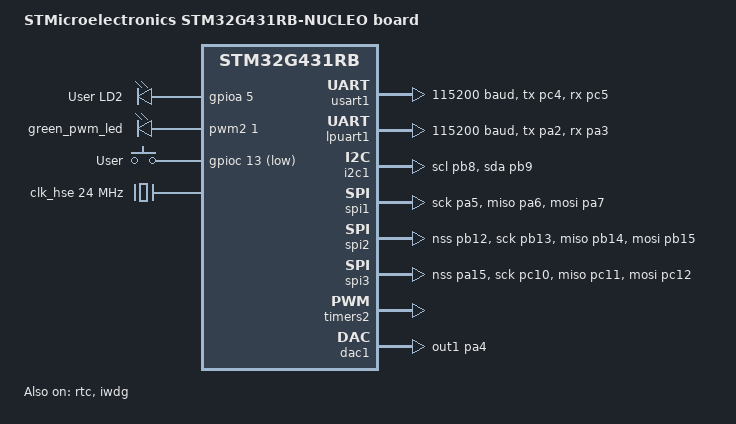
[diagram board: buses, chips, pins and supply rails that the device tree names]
/*
 * Copyright (c) 2019 Richard Osterloh <richard.osterloh@gmail.com>
 *
 * SPDX-License-Identifier: Apache-2.0
 */

/dts-v1/;
#include <st/g4/stm32g431Xb.dtsi>
#include <st/g4/stm32g431r(6-8-b)tx-pinctrl.dtsi>
#include "arduino_r3_connector.dtsi"

/ {
	model = "STMicroelectronics STM32G431RB-NUCLEO board";
	compatible = "st,stm32g431rb-nucleo";

	chosen {
		zephyr,console = &lpuart1;
		zephyr,shell-uart = &lpuart1;
		zephyr,sram = &sram0;
		zephyr,flash = &flash0;
	};

	leds {
		compatible = "gpio-leds";
		green_led: led_0 {
			gpios = <&gpioa 5 GPIO_ACTIVE_HIGH>;
			label = "User LD2";
		};
	};

	pwmleds {
		compatible = "pwm-leds";

		green_pwm_led: green_pwm_led {
			pwms = <&pwm2 1 PWM_MSEC(20) PWM_POLARITY_NORMAL>;
		};
	};

	gpio_keys {
		compatible = "gpio-keys";
		user_button: button {
			label = "User";
			gpios = <&gpioc 13 GPIO_ACTIVE_LOW>;
		};
	};

	aliases {
		led0 = &green_led;
		pwm-led0 = &green_pwm_led;
		sw0 = &user_button;
	};
};

&clk_hse {
	clock-frequency = <DT_FREQ_M(24)>;
	status = "okay";
};

&pll {
	div-m = <6>;
	mul-n = <85>;
	div-p = <7>;
	div-q = <2>;
	div-r = <2>;
	clocks = <&clk_hse>;
	status = "okay";
};

&rcc {
	clocks = <&pll>;
	clock-frequency = <DT_FREQ_M(170)>;
	ahb-prescaler = <1>;
	apb1-prescaler = <1>;
	apb2-prescaler = <1>;
};

&usart1 {
	pinctrl-0 = <&usart1_tx_pc4 &usart1_rx_pc5>;
	pinctrl-names = "default";
	current-speed = <115200>;
	status = "okay";
};

&lpuart1 {
	pinctrl-0 = <&lpuart1_tx_pa2 &lpuart1_rx_pa3>;
	pinctrl-names = "default";
	current-speed = <115200>;
	status = "okay";
};

&i2c1 {
	pinctrl-0 = <&i2c1_scl_pb8 &i2c1_sda_pb9>;
	pinctrl-names = "default";
	status = "okay";
};

&spi1 {
	pinctrl-0 = <&spi1_sck_pa5 &spi1_miso_pa6 &spi1_mosi_pa7>;
	pinctrl-names = "default";
	cs-gpios = <&gpiob 6 (GPIO_ACTIVE_LOW | GPIO_PULL_UP)>;
	status = "okay";
};

&spi2 {
	pinctrl-0 = <&spi2_nss_pb12 &spi2_sck_pb13
		     &spi2_miso_pb14 &spi2_mosi_pb15>;
	pinctrl-names = "default";
	status = "okay";
};

&spi3 {
	/* SPI3 on the ST Morpho Connector CN7 pins 17, 1, 2, 3*/
	pinctrl-0 = <&spi3_nss_pa15 &spi3_sck_pc10
		     &spi3_miso_pc11 &spi3_mosi_pc12>;
	pinctrl-names = "default";
	status = "okay";
};

&timers2 {
	status = "okay";

	pwm2: pwm {
		status = "okay";
		pinctrl-0 = <&tim2_ch1_pa5>;
		pinctrl-names = "default";
	};
};

&rtc {
	status = "okay";
};

&flash0 {

	partitions {
		compatible = "fixed-partitions";
		#address-cells = <1>;
		#size-cells = <1>;

		/* Set 4Kb of storage at the end of the 128Kb of flash */
		storage_partition: partition@1f000 {
			label = "storage";
			reg = <0x0001f000 DT_SIZE_K(4)>;
		};
	};
};

&iwdg {
	status = "okay";
};

&dac1 {
	status = "okay";
	pinctrl-0 = <&dac1_out1_pa4>;
	pinctrl-names = "default";
};
